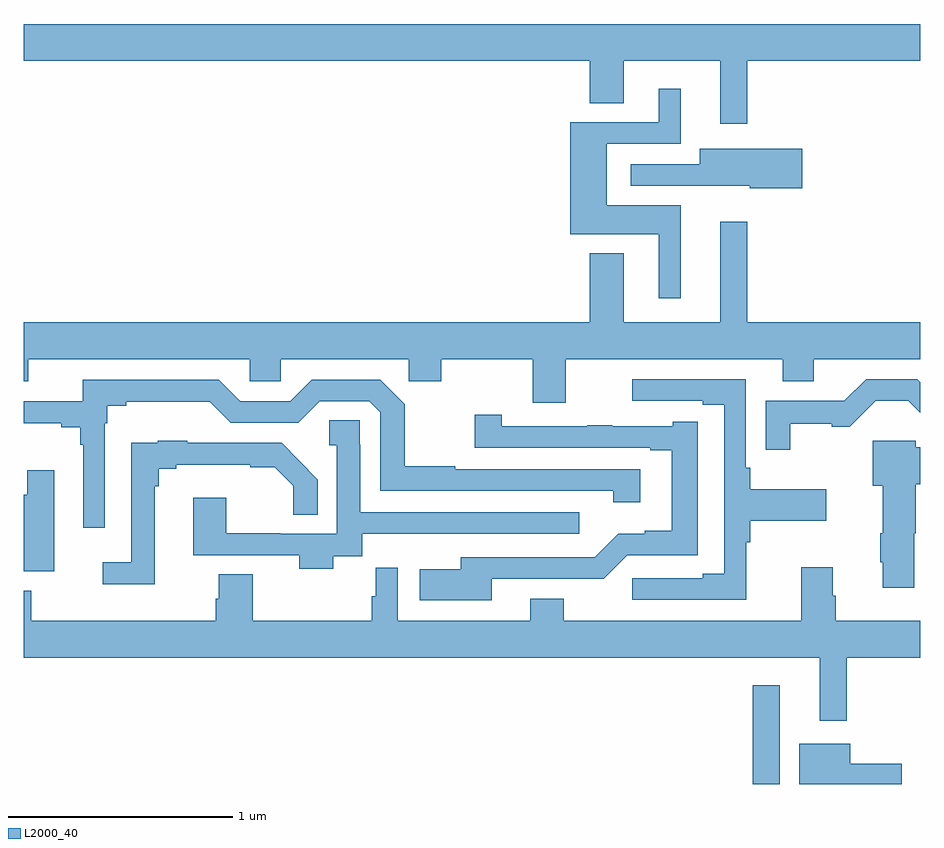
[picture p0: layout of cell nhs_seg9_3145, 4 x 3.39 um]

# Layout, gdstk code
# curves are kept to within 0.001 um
import gdstk
lib = gdstk.Library(unit=1e-6, precision=1e-09)
def R(c, l, rs):  # rectangles x0, y0, x1, y1
    for r in rs: c.add(gdstk.rectangle(r[:2], r[2:], *l))
def P(c, l, *ps):  # polygons
    for p in ps: c.add(gdstk.Polygon(p, *l))
L2000_40 = (2000, 40)

nhs_seg9_3145 = lib.new_cell('nhs_seg9_3145')
R(nhs_seg9_3145, L2000_40, [(294.252,1218.5,294.373,1218.94)])
P(nhs_seg9_3145, L2000_40, [(294.229,1221.728),(295,1221.728),(295,1221.892),(291,1221.892),(291,1221.728),(293.525,1221.728),(293.525,1221.538),(293.677,1221.538),(293.677,1221.728),(294.107,1221.728),(294.107,1221.447),(294.229,1221.447)],
  [(293.932,1221.082),(293.602,1221.082),(293.602,1221.357),(293.932,1221.357),(293.932,1221.604),(293.834,1221.604),(293.834,1221.453),(293.438,1221.453),(293.438,1220.954),(293.834,1220.954),(293.834,1220.667),(293.932,1220.667)],
  [(294.475,1221.336),(294.017,1221.336),(294.017,1221.267),(293.709,1221.267),(293.709,1221.171),(294.021,1221.171),(294.021,1221.17),(294.24,1221.17),(294.24,1221.158),(294.475,1221.158)],
  [(293.419,1220.396),(294.386,1220.396),(294.386,1220.297),(294.526,1220.297),(294.526,1220.396),(295,1220.396),(295,1220.56),(294.229,1220.56),(294.229,1221.01),(294.107,1221.01),(294.107,1220.56),(293.677,1220.56),(293.677,1220.869),(293.525,1220.869),(293.525,1220.56),(291,1220.56),(291,1220.297),(291.019,1220.297),(291.019,1220.396),(292.008,1220.396),(292.008,1220.298),(292.146,1220.298),(292.146,1220.396),(292.717,1220.396),(292.717,1220.298),(292.863,1220.298),(292.863,1220.396),(293.272,1220.396),(293.272,1220.202),(293.419,1220.202)],
  [(294.225,1219.58),(294.242,1219.58),(294.242,1219.676),(294.58,1219.676),(294.58,1219.816),(294.242,1219.816),(294.242,1219.912),(294.222,1219.912),(294.222,1220.307),(293.715,1220.307),(293.715,1220.211),(294.029,1220.211),(294.029,1220.193),(294.126,1220.193),(294.126,1219.439),(294.029,1219.439),(294.029,1219.419),(293.715,1219.419),(293.715,1219.323),(294.225,1219.323)],
  [(294.421,1220.107),(294.605,1220.107),(294.605,1220.095),(294.686,1220.095),(294.801,1220.21),(294.946,1220.21),(295,1220.156),(295,1220.294),(294.987,1220.307),(294.759,1220.307),(294.662,1220.21),(294.312,1220.21),(294.312,1219.992),(294.421,1219.992)],
  [(291.36,1220.111),(291.373,1220.111),(291.373,1220.188),(291.457,1220.188),(291.457,1220.207),(291.829,1220.207),(291.924,1220.112),(292.224,1220.112),(292.32,1220.208),(292.542,1220.208),(292.59,1220.16),(292.59,1219.809),(293.631,1219.809),(293.631,1219.758),(293.752,1219.758),(293.752,1219.905),(292.925,1219.905),(292.925,1219.918),(292.699,1219.918),(292.699,1220.195),(292.59,1220.304),(292.284,1220.304),(292.188,1220.208),(291.966,1220.208),(291.87,1220.304),(291.262,1220.304),(291.262,1220.208),(291,1220.208),(291,1220.111),(291.167,1220.111),(291.167,1220.092),(291.252,1220.092),(291.252,1220.015),(291.264,1220.015),(291.264,1219.644),(291.36,1219.644)],
  [(293.089,1219.416),(293.588,1219.415),(293.694,1219.521),(294.007,1219.521),(294.007,1220.116),(293.895,1220.116),(293.895,1220.097),(293.627,1220.097),(293.627,1220.102),(293.515,1220.102),(293.515,1220.097),(293.133,1220.097),(293.133,1220.149),(293.013,1220.149),(293.013,1220.001),(293.795,1220.001),(293.795,1219.989),(293.891,1219.989),(293.891,1219.63),(293.772,1219.63),(293.772,1219.618),(293.653,1219.618),(293.547,1219.512),(292.949,1219.512),(292.949,1219.459),(292.767,1219.459),(292.767,1219.319),(293.089,1219.319)],
  [(292.381,1219.517),(292.51,1219.517),(292.51,1219.616),(292.779,1219.616),(292.779,1219.617),(293.479,1219.617),(293.479,1219.713),(292.501,1219.713),(292.501,1220.015),(292.5,1220.015),(292.5,1220.123),(292.362,1220.123),(292.362,1220.012),(292.397,1220.012),(292.397,1219.617),(292.145,1219.617),(292.145,1219.619),(291.903,1219.619),(291.903,1219.777),(291.755,1219.777),(291.755,1219.521),(292.229,1219.521),(292.229,1219.46),(292.381,1219.46)],
  [(291.583,1219.829),(291.601,1219.829),(291.601,1219.906),(291.679,1219.906),(291.679,1219.925),(292.01,1219.925),(292.01,1219.914),(292.119,1219.914),(292.203,1219.831),(292.203,1219.702),(292.312,1219.702),(292.312,1219.859),(292.228,1219.942),(292.229,1219.943),(292.15,1220.022),(291.729,1220.022),(291.729,1220.032),(291.597,1220.032),(291.597,1220.024),(291.479,1220.024),(291.479,1219.489),(291.351,1219.489),(291.351,1219.391),(291.583,1219.391)],
  [(294.973,1219.619),(294.981,1219.619),(294.981,1219.837),(295,1219.837),(295,1220.002),(294.981,1220.002),(294.981,1220.032),(294.788,1220.032),(294.788,1219.832),(294.833,1219.832),(294.833,1219.619),(294.821,1219.619),(294.821,1219.489),(294.833,1219.489),(294.833,1219.377),(294.973,1219.377)],
  [(291.136,1219.9),(291.014,1219.9),(291.014,1219.792),(291,1219.792),(291,1219.449),(291.136,1219.449)],
  [(294.673,1219.064),(295,1219.064),(295,1219.228),(294.623,1219.228),(294.623,1219.34),(294.61,1219.34),(294.61,1219.468),(294.47,1219.468),(294.47,1219.228),(293.409,1219.228),(293.409,1219.327),(293.261,1219.327),(293.261,1219.228),(292.668,1219.228),(292.668,1219.465),(292.571,1219.465),(292.571,1219.338),(292.552,1219.338),(292.552,1219.228),(292.022,1219.228),(292.022,1219.436),(291.869,1219.436),(291.869,1219.326),(291.857,1219.326),(291.857,1219.228),(291.032,1219.228),(291.032,1219.363),(291,1219.363),(291,1219.064),(294.551,1219.064),(294.551,1218.783),(294.673,1218.783)],
  [(294.919,1218.591),(294.688,1218.591),(294.688,1218.679),(294.461,1218.679),(294.461,1218.5),(294.919,1218.5)])

lib.write_gds('nhs_seg9_3145.gds')
